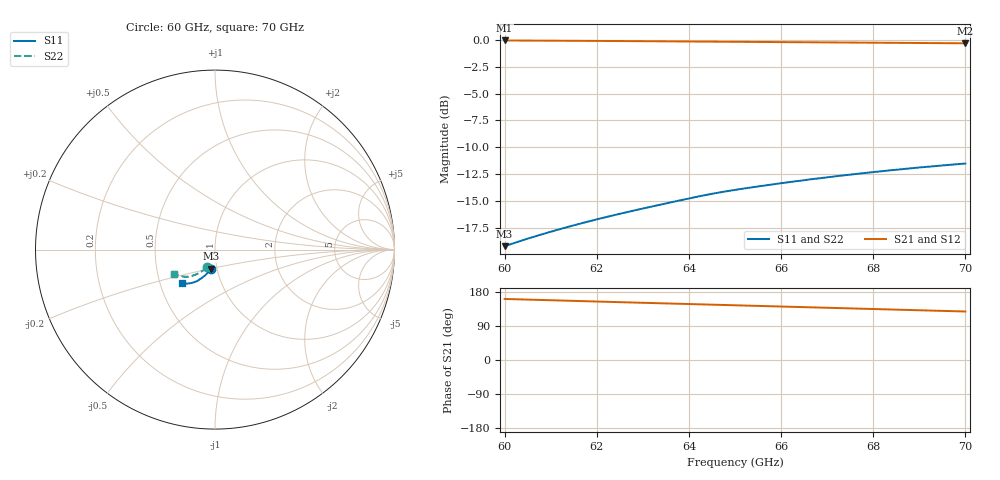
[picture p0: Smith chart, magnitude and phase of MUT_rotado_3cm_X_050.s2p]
! TOUCHSTONE file generated by CST MICROWAVE STUDIO
! Date and time: Sat Feb 17 14:30:00 2024
! Project name: MUT_rotado.cst
! Parameters = {AngX=0.5}
! Header version: 2018
! Port assignment regex: !\s*Touchstone port\s*([0-9]+)\s*=\s*(CST MWS port|CST DS port)\s*([0-9]+|Zmin|Zmax)\s*\(\"(.*)\"\)(\s*mode\s*([0-9]+))?.*
! Touchstone port assignment:
! Touchstone port 1 = CST MWS port 1 ("")
! Touchstone port 2 = CST MWS port 2 ("")
# GHz S MA R 376.7
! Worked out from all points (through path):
!   1001 points, 60 GHz to 70 GHz, reference 376.7 ohm
!   highest |S21| = -0.05 dB at 60 GHz (marker M1); lowest = -0.3 dB at 70 GHz (marker M2)
!   group delay of S21, straight-line fit = 9.17 ps
!   lowest |S11| = -19.2 dB at 60 GHz (marker M3), VSWR 1.25, Z = 351 - j75.7 ohm
!   |S11| at or under -10 dB: start of sweep to end of sweep
!   |S22| runs from -19.2 to -11.5 dB; largest |S21 - S12| = 0.00027
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60  0.1093 -102.7  0.9941 161.1  0.9939 161.1  0.1092 -115.1
60.05  0.1102 -102.9  0.994 160.9  0.9938 160.9  0.1101 -115.2
60.45  0.1175 -104.2  0.9931 159.6  0.9931 159.6  0.1173 -116.6
60.87  0.1252 -105.6  0.9922 158.1  0.9923 158.1  0.125 -118.0
61.26  0.1323 -106.9  0.9912 156.8  0.9914 156.8  0.1321 -119.4
61.67  0.1397 -108.3  0.9902 155.4  0.9903 155.4  0.1396 -120.8
62.07  0.1469 -109.7  0.9891 154.1  0.9892 154.1  0.147 -122.2
62.48  0.1543 -111.1  0.9879 152.7  0.988 152.7  0.1546 -123.7
62.91  0.162 -112.6  0.9866 151.2  0.9867 151.2  0.1625 -125.2
63.34  0.1699 -114.2  0.9853 149.8  0.9853 149.8  0.1704 -126.7
63.84  0.1793 -115.9  0.9837 148.2  0.9837 148.1  0.1796 -128.4
64.32  0.1884 -117.4  0.9822 146.6  0.9821 146.6  0.1882 -130.0
64.65  0.1943 -118.3  0.9811 145.5  0.9809 145.5  0.194 -131.0
65  0.1999 -119.2  0.9799 144.3  0.9798 144.3  0.1999 -132.1
65.37  0.2055 -120.3  0.9787 143.1  0.9785 143.1  0.2059 -133.3
65.76  0.2113 -121.5  0.9774 141.8  0.9772 141.8  0.2118 -134.6
66.67  0.2243 -124.4  0.9745 138.9  0.9743 138.8  0.2246 -137.7
67.5  0.2355 -127.1  0.9719 136.1  0.9718 136.1  0.2356 -140.6
68.34  0.2463 -129.7  0.9693 133.4  0.9693 133.4  0.2462 -143.6
69.3  0.2576 -132.6  0.9664 130.3  0.9666 130.3  0.2576 -147.0
69.95  0.2648 -134.5  0.9644 128.1  0.9647 128.1  0.2647 -149.2
70  0.2653 -134.7  0.9643 128.0  0.9645 128.0  0.2653 -149.4
